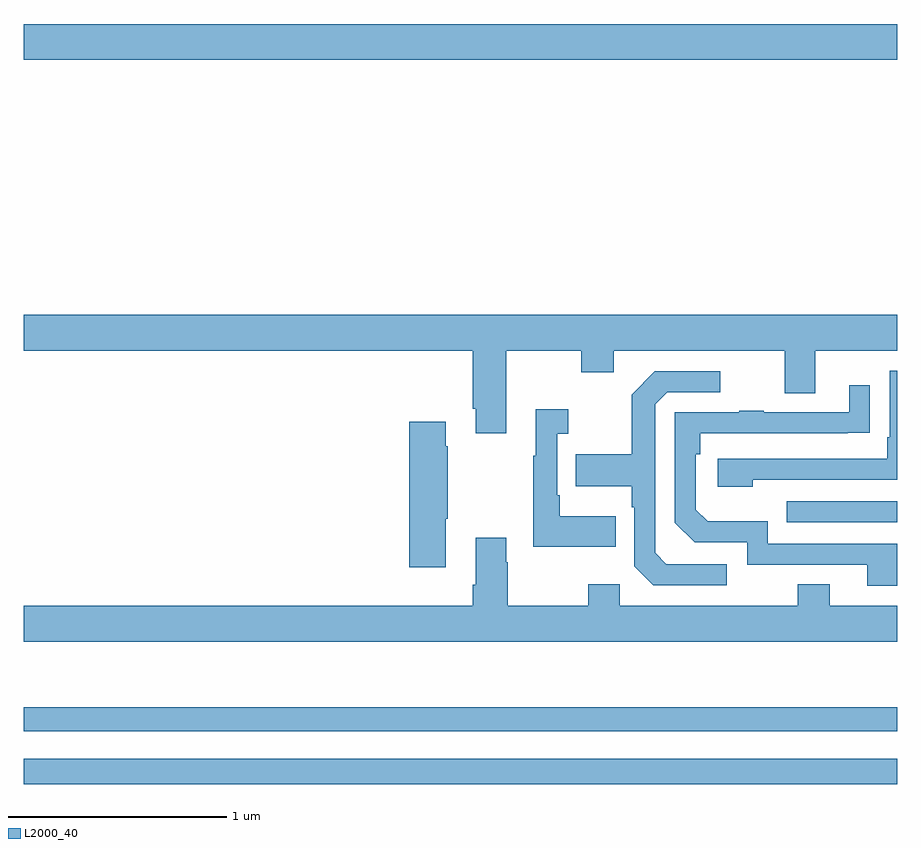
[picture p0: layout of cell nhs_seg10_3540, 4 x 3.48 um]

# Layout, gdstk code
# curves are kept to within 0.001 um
import gdstk
lib = gdstk.Library(unit=1e-6, precision=1e-09)
def R(c, l, rs):  # rectangles x0, y0, x1, y1
    for r in rs: c.add(gdstk.rectangle(r[:2], r[2:], *l))
def P(c, l, *ps):  # polygons
    for p in ps: c.add(gdstk.Polygon(p, *l))
L2000_40 = (2000, 40)

nhs_seg10_3540 = lib.new_cell('nhs_seg10_3540')
R(nhs_seg10_3540, L2000_40, [(303,1316.98,307,1317.096), (303,1317.222,307,1317.331), (306.493,1318.179,307,1318.275), (303,1320.296,307,1320.46)])
P(nhs_seg10_3540, L2000_40, [(305.209,1318.964),(305.554,1318.964),(305.554,1318.865),(305.701,1318.865),(305.701,1318.964),(306.485,1318.964),(306.485,1318.77),(306.625,1318.77),(306.625,1318.964),(307,1318.964),(307,1319.128),(303,1319.128),(303,1318.964),(305.057,1318.964),(305.057,1318.699),(305.069,1318.699),(305.069,1318.587),(305.209,1318.587)],
  [(306.338,1318.374),(307,1318.374),(307,1318.872),(306.966,1318.872),(306.966,1318.567),(306.953,1318.567),(306.953,1318.47),(306.177,1318.47),(306.177,1318.34),(306.338,1318.34)],
  [(306.22,1317.987),(305.943,1317.987),(305.892,1318.038),(305.892,1318.719),(305.946,1318.773),(306.19,1318.773),(306.19,1318.869),(305.889,1318.869),(305.784,1318.763),(305.784,1318.491),(305.527,1318.491),(305.527,1318.343),(305.784,1318.343),(305.784,1318.247),(305.796,1318.247),(305.796,1317.978),(305.883,1317.891),(306.22,1317.891)],
  [(307,1318.08),(306.408,1318.08),(306.408,1318.183),(306.131,1318.183),(306.078,1318.236),(306.078,1318.49),(306.098,1318.49),(306.098,1318.587),(306.875,1318.588),(306.875,1318.807),(306.779,1318.807),(306.779,1318.683),(306.389,1318.683),(306.389,1318.688),(306.277,1318.688),(306.277,1318.683),(305.982,1318.683),(305.982,1318.176),(306.072,1318.086),(306.312,1318.086),(306.312,1317.984),(306.863,1317.984),(306.863,1317.888),(307,1317.888)],
  [(305.711,1318.207),(305.455,1318.207),(305.455,1318.303),(305.442,1318.303),(305.442,1318.583),(305.494,1318.583),(305.494,1318.696),(305.345,1318.696),(305.345,1318.483),(305.334,1318.483),(305.334,1318.067),(305.711,1318.067)],
  [(304.933,1318.195),(304.941,1318.195),(304.941,1318.526),(304.933,1318.526),(304.933,1318.639),(304.766,1318.639),(304.766,1317.972),(304.933,1317.972)],
  [(307,1317.796),(306.691,1317.796),(306.691,1317.895),(306.544,1317.895),(306.544,1317.796),(305.73,1317.796),(305.73,1317.895),(305.584,1317.895),(305.584,1317.796),(305.217,1317.796),(305.217,1317.995),(305.209,1317.995),(305.209,1318.108),(305.069,1318.108),(305.069,1317.892),(305.057,1317.892),(305.057,1317.796),(303,1317.796),(303,1317.632),(307,1317.632)])

lib.write_gds('nhs_seg10_3540.gds')
